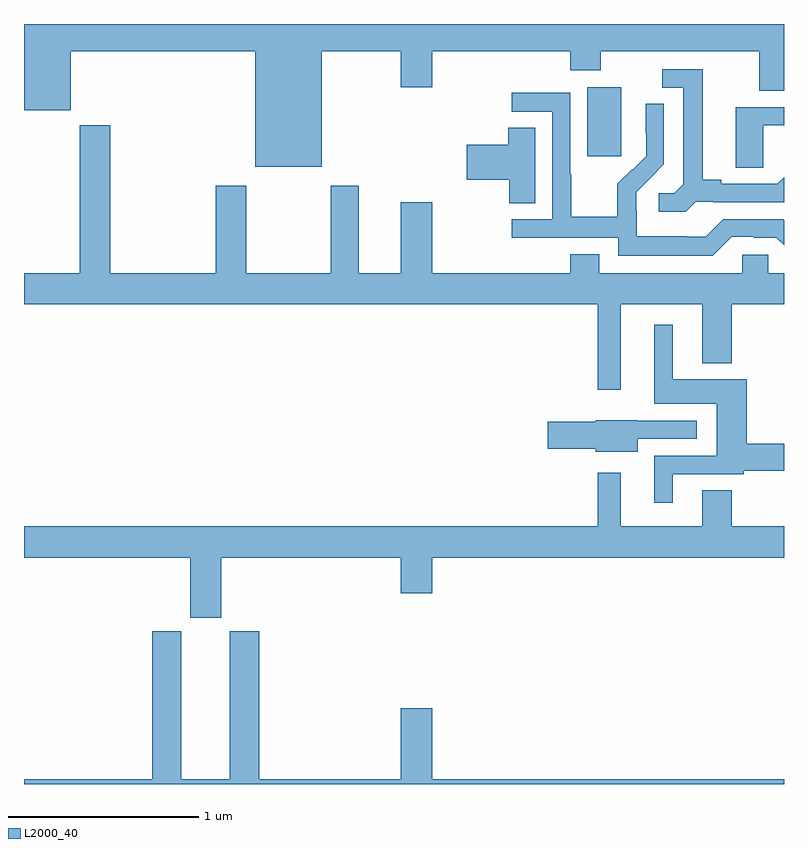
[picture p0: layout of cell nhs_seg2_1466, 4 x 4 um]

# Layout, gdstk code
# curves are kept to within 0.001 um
import gdstk
lib = gdstk.Library(unit=1e-6, precision=1e-09)
def R(c, l, rs):  # rectangles x0, y0, x1, y1
    for r in rs: c.add(gdstk.rectangle(r[:2], r[2:], *l))
def P(c, l, *ps):  # polygons
    for p in ps: c.add(gdstk.Polygon(p, *l))
L2000_40 = (2000, 40)

nhs_seg2_1466 = lib.new_cell('nhs_seg2_1466')
R(nhs_seg2_1466, L2000_40, [(189.965,627.105,190.144,627.466)])
P(nhs_seg2_1466, L2000_40, [(188.566,627.656),(188.984,627.656),(188.984,627.468),(189.148,627.468),(189.148,627.656),(189.875,627.656),(189.875,627.557),(190.035,627.557),(190.035,627.656),(190.871,627.656),(190.871,627.448),(191,627.448),(191,627.8),(187,627.8),(187,627.347),(187.246,627.347),(187.246,627.656),(188.216,627.656),(188.216,627.05),(188.566,627.05)],
  [(190.536,626.865),(190.63,626.865),(190.63,626.862),(191,626.862),(191,626.994),(190.964,626.958),(190.669,626.958),(190.669,626.981),(190.573,626.981),(190.573,627.561),(190.359,627.561),(190.359,627.465),(190.469,627.465),(190.469,626.957),(190.422,626.91),(190.341,626.91),(190.341,626.813),(190.484,626.813)],
  [(190.725,626.679),(190.841,626.679),(190.841,626.676),(190.959,626.676),(191,626.635),(191,626.767),(190.995,626.772),(190.68,626.772),(190.587,626.679),(190.487,626.679),(190.487,626.683),(190.224,626.683),(190.224,626.817),(190.222,626.817),(190.222,626.914),(190.368,627.062),(190.368,627.38),(190.272,627.38),(190.272,627.226),(190.274,627.226),(190.274,627.104),(190.203,627.033),(190.2,627.036),(190.123,626.959),(190.123,626.785),(189.879,626.785),(189.879,627.008),(189.876,627.008),(189.876,627.438),(189.567,627.438),(189.567,627.339),(189.78,627.339),(189.78,626.772),(189.567,626.772),(189.567,626.676),(190.128,626.676),(190.128,626.579),(190.625,626.579)],
  [(190.89,627.267),(191,627.267),(191,627.363),(190.745,627.363),(190.745,627.043),(190.89,627.043)],
  [(190.141,626.324),(190.571,626.324),(190.571,626.015),(190.724,626.015),(190.724,626.324),(191,626.324),(191,626.488),(190.917,626.488),(190.917,626.586),(190.779,626.586),(190.779,626.488),(190.027,626.488),(190.027,626.587),(189.875,626.587),(189.875,626.488),(189.148,626.488),(189.148,626.863),(188.984,626.863),(188.984,626.488),(188.761,626.488),(188.761,626.95),(188.614,626.95),(188.614,626.488),(188.169,626.488),(188.169,626.95),(188.009,626.95),(188.009,626.488),(187.454,626.488),(187.454,627.268),(187.294,627.268),(187.294,626.488),(187,626.488),(187,626.324),(190.02,626.324),(190.02,625.875),(190.141,625.875)],
  [(189.691,627.254),(189.548,627.254),(189.548,627.164),(189.33,627.164),(189.33,626.981),(189.553,626.981),(189.553,626.857),(189.691,626.857)],
  [(190.414,625.431),(190.788,625.431),(190.788,625.45),(191,625.45),(191,625.592),(190.805,625.592),(190.805,625.93),(190.414,625.93),(190.414,626.218),(190.316,626.218),(190.316,625.802),(190.646,625.802),(190.646,625.527),(190.316,625.527),(190.316,625.281),(190.414,625.281)],
  [(190.231,625.617),(190.54,625.617),(190.54,625.713),(190.227,625.713),(190.227,625.714),(190.008,625.714),(190.008,625.706),(189.756,625.706),(189.756,625.564),(190.008,625.564),(190.008,625.55),(190.231,625.55)],
  [(188.038,624.992),(188.984,624.992),(188.984,624.804),(189.148,624.804),(189.148,624.992),(191,624.992),(191,625.156),(190.724,625.156),(190.724,625.346),(190.571,625.346),(190.571,625.156),(190.141,625.156),(190.141,625.438),(190.02,625.438),(190.02,625.156),(187,625.156),(187,624.992),(187.874,624.992),(187.874,624.675),(188.038,624.675)],
  [(191,623.824),(189.148,623.824),(189.148,624.199),(188.984,624.199),(188.984,623.824),(188.237,623.824),(188.237,624.603),(188.084,624.603),(188.084,623.824),(187.828,623.824),(187.828,624.603),(187.676,624.603),(187.676,623.824),(187,623.824),(187,623.8),(191,623.8)])

lib.write_gds('nhs_seg2_1466.gds')
